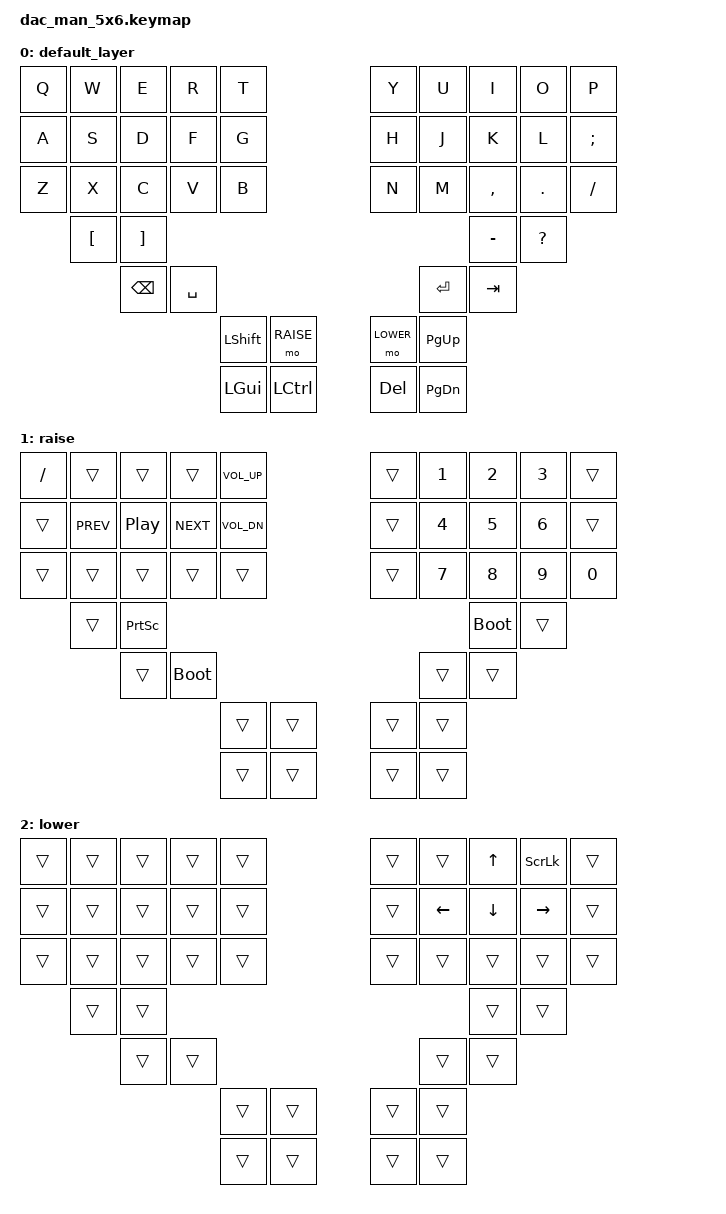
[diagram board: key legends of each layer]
#include <behaviors.dtsi>
#include <dt-bindings/zmk/keys.h>
#include <dt-bindings/zmk/bt.h>

#define DEFAULT 0
#define RAISE   1
#define LOWER   2

/ {
    keymap {
        compatible = "zmk,keymap";

        default_layer {
// Commented layout is not actual layout.
// -------------------------------------------------------------------------------------------------------------------------
// |   ESC   |    1    |    2    |    3    |    4    |    5    |                   |    6    |    7    |    8    |    9    |    0    |  BSPC   |
// |   TAB   |    Q    |    W    |    E    |    R    |    T    |                   |    Y    |    U    |    I    |    O    |    P    |    \    |
// |  LALT   |    A    |    S    |    D    |    F    |    G    |                   |    H    |    J    |    K    |    L    |    ;    |    '    |
// |  LCTRL  |    Z    |    X    |    C    |    V    |    B    |                   |    N    |    M    |    ,    |    .    |    /    |  RALT   |
//                     |    [    |    ]    |                                                           |    -    |    =    |
//                               | MO lay 1| SPACE   |                   | ENTER   | MO lay 2|
//                                         |   TAB   |   HOME  |   END   |   DEL   |
//                                         |  Raise  |    ~    |   GUI   |  Lower  |
            bindings = <
&kp Q      &kp W     &kp E      &kp R      &kp T                           &kp Y      &kp U      &kp I      &kp O      &kp P          
&kp A      &kp S     &kp D      &kp F      &kp G                           &kp H      &kp J      &kp K      &kp L      &kp SEMI  
&kp Z      &kp X     &kp C      &kp V      &kp B                           &kp N      &kp M      &kp COMMA  &kp DOT    &kp FSLH       
           &kp LBKT  &kp RBKT                                                               &kp MINUS  &kp QMARK
                     &kp BSPC  &kp SPACE                                             &kp ENTER   &kp TAB
                                              &kp LSHFT &mo RAISE    &mo LOWER   &kp PG_UP
                                              &kp LGUI  &kp LCTRL      &kp DEL     &kp PG_DN
        >;
    };








        raise {
            bindings = <

&kp FSLH     &trans    &trans     &trans     &kp C_VOL_UP                        &trans     &kp N1      &kp N2      &kp N3      &trans
&trans   &kp C_PREV &kp C_PP  &kp C_NEXT    &kp C_VOL_DN                         &trans     &kp N4      &kp N5      &kp N6      &trans
&trans     &trans    &trans     &trans     &trans                                &trans     &kp N7      &kp N8      &kp N9      &kp N0
           &trans    &kp PSCRN                                                                      &bootloader      &trans
                                     &trans     &bootloader                          &trans         &trans
                                                &trans &trans            &trans &trans
                                                &trans &trans            &trans &trans
            >;
        };







        lower {
            bindings = <
&trans     &trans     &trans     &trans     &trans                   &trans     &trans      &kp UP      &kp SLCK   &trans      
&trans     &trans     &trans     &trans     &trans                   &trans     &kp LEFT    &kp DOWN    &kp RIGHT  &trans     
&trans     &trans     &trans     &trans     &trans                   &trans     &trans      &trans      &trans     &trans      
           &trans  &trans                                                              &trans     &trans
                                     &trans  &trans                 &trans   &trans
                                              &trans &trans   &trans    &trans
                                              &trans &trans   &trans    &trans
            >;
        };
   };
};
